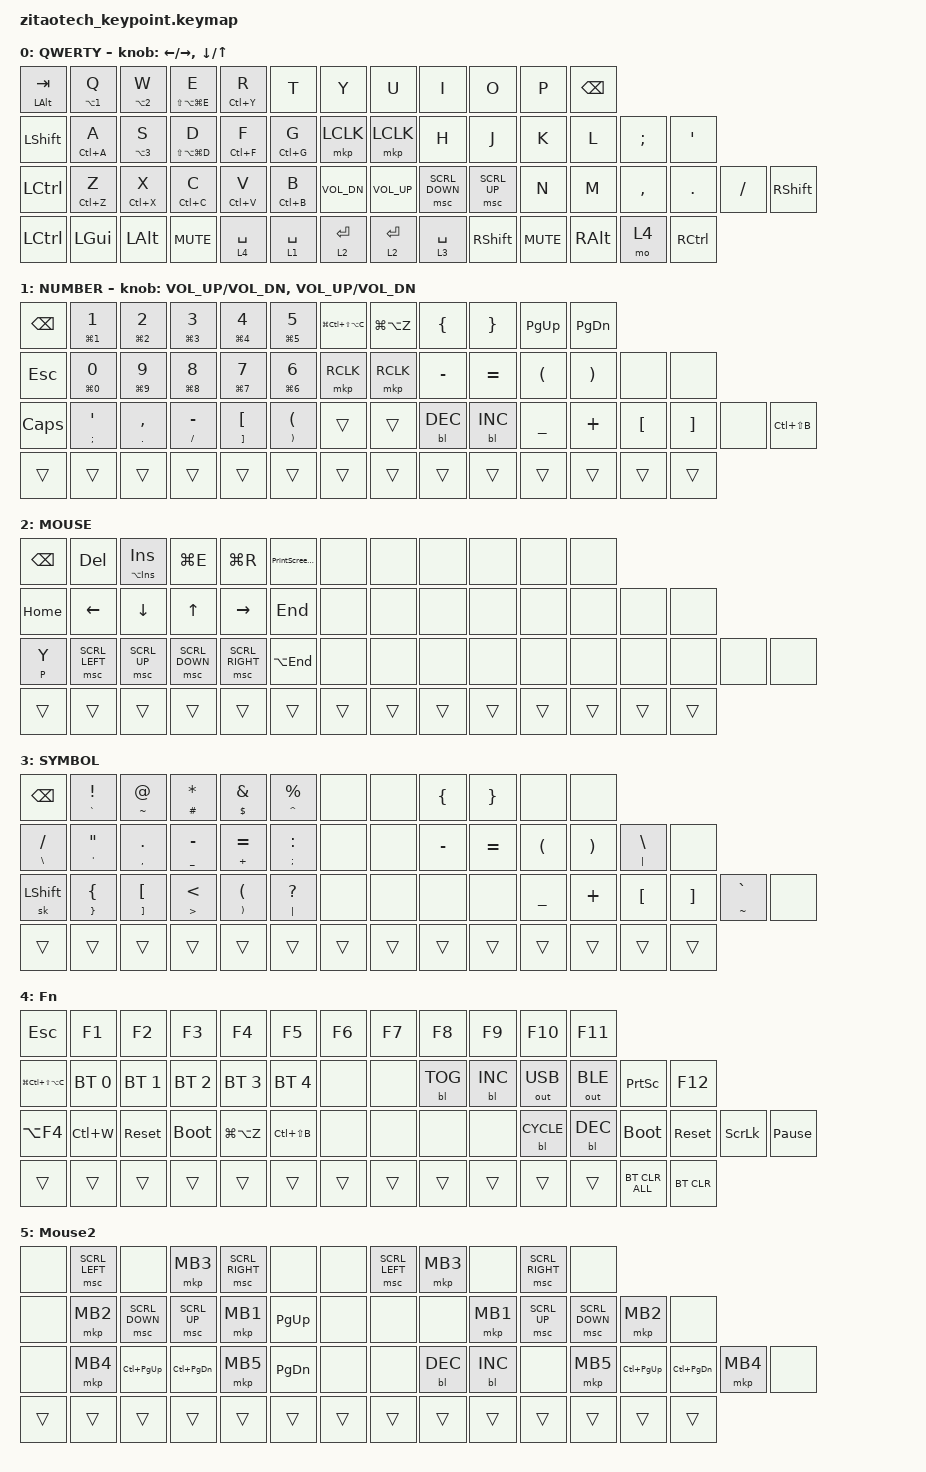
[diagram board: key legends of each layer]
/*
 * Copyright (c) 2025 ZitaoTech
 *
 * SPDX-License-Identifier: MIT
 */

#include <dt-bindings/zmk/mouse.h>
#include <behaviors.dtsi>
#include <dt-bindings/zmk/backlight.h>
#include <dt-bindings/zmk/bt.h>
#include <dt-bindings/zmk/keys.h>
#include <dt-bindings/zmk/outputs.h>
#include <dt-bindings/zmk/pointing.h>

#define LOWER 1
#define RAISE 2
#define MOUSE 3
#define BOT bootloader

&mt {
    flavor = "tap-preferred";	//优先识别为点击而非长按
    tapping-term-ms = <260>;            // 默认200ms，可据需要调整   判断“敲击”和“长按”的关键时间阈值。值越大，需等待更长时间才能判断是长按
    quick-tap-ms = <216>;               // 设置快速点按窗口          判断“快速敲击”的时间窗口。值越大，认为是快速敲击的时间就越长。
    global-quick-tap;                   // 启用全局快速点按功能
    hold-trigger-on-release;            // 在释放时才触发长按
    require-prior-idle-ms = <350>;      // 值越大，快速输入时hold越不易被激发
};

&sk { release-after-ms = <3000>; };

/ {
    behaviors {
        td0: tap_dance_0 {
            compatible = "zmk,behavior-tap-dance";
            #binding-cells = <0>;
            tapping-term-ms = <400>;
            bindings = <&mkp LCLK>, <&bt BT_CLR>;
        };
    };

    behaviors {
        tdRMCLK: tap_dance_R_LMouse {
            compatible = "zmk,behavior-tap-dance";
            #binding-cells = <0>;
            tapping-term-ms = <400>;
            bindings = <&mkp RCLK>, <&mkp MCLK>;
        };
    };

    behaviors {
        hm: homerow_mods {
            compatible = "zmk,behavior-hold-tap";
            #binding-cells = <2>;
            tapping-term-ms = <500>;
            bindings = <&kp &kp>;
        };
    };

    behaviors {
        LMouse_sc: behavior_LMouse_Scroll {
            compatible = "zmk,behavior-hold-tap";
            #binding-cells = <2>;
            flavor = "tap-preferred";     /* 单击优先 */
            tapping-term-ms = <200>;       /* 长按阈值 */
            bindings = <&none &mkp>;        /* hold=none, tap=Lmouse */
        };
    };

    behaviors {
        M_kp: behavior_mouse_keypress {
            compatible = "zmk,behavior-hold-tap";
            #binding-cells = <2>;
            flavor = "tap-preferred";     /* 单击优先 */
            tapping-term-ms = <200>;       /* 长按阈值 */
            bindings = <&mkp &kp>;        /* hold=mou key press, tap=key*/
        };
    };

    behaviors {
        BLE_encoder: BLE_encoder {
            compatible = "zmk,behavior-sensor-rotate";
            #sensor-binding-cells = <0>;
            bindings = <&bt BT_NXT>, <&bt BT_PRV>;
        };

        PrintScreen2FastStone: PrintScreen2FastStone {
            compatible = "zmk,behavior-tap-dance";
            label = "PRINTSCREEN2FASTSTONE";
            #binding-cells = <0>;
            bindings =
                <&mt LC(LS(PRINTSCREEN)) LS(PRINTSCREEN)>,
                <&kp LC(PRINTSCREEN)>,
                <&kp LC(LS(LA(PRINTSCREEN)))>;

            tapping-term-ms = <650>;
        };
    };

    combos {
        compatible = "zmk,combos";

        Combos2LayerX {
            bindings = <&mo 3>;
            key-positions = <47 48>;
        };

        Combos3LayerY {
            bindings = <&mo 5>;
            key-positions = <46 47>;
        };
    };

    keymap {
        compatible = "zmk,keymap";

        default_layer {
            display-name = "QWERTY";
            bindings = <
&mt LEFT_ALT TAB  &mt LA(N1) Q  &mt LA(N2) W  &mt LS(LA(LG(E))) E  &mt LC(Y) R  &kp T        &kp Y         &kp U         &kp I           &kp O            &kp P       &kp BSPC
&kp LEFT_SHIFT    &mt LC(A) A   &mt LA(N3) S  &mt LS(LA(LG(D))) D  &mt LC(F) F  &mt LC(G) G  &mkp LCLK     &mkp LCLK     &kp H           &kp J            &kp K       &kp L          &kp SEMI   &kp SQT
&kp LEFT_CONTROL  &mt LC(Z) Z   &mt LC(X) X   &mt LC(C) C          &mt LC(V) V  &mt LC(B) B  &kp C_VOL_DN  &kp C_VOL_UP  &msc SCRL_DOWN  &msc SCRL_UP     &kp N       &kp M          &kp COMMA  &kp DOT    &kp FSLH  &kp RSHFT
&kp LCTRL         &kp LGUI      &kp LALT      &kp C_MUTE           &lt 4 SPACE  &lt 1 SPACE  &lt 2 ENTER   &lt 2 ENTER   &lt 3 SPACE     &kp RIGHT_SHIFT  &kp C_MUTE  &kp RIGHT_ALT  &mo 4      &kp RCTRL
            >;

            sensor-bindings =
                <&inc_dec_kp LEFT RIGHT>,
                <&inc_dec_kp DOWN UP_ARROW>;
        };

        number_layer {
            display-name = "NUMBER";
            bindings = <
&kp BACKSPACE  &mt LG(N1) N1               &mt LG(N2) N2     &mt LG(N3) N3    &mt LG(N4) N4                   &mt LG(N5) N5                           &kp LG(LC(LS(LA(C))))  &kp LG(LA(Z))  &kp LBRC    &kp RBRC    &kp PAGE_UP     &kp PAGE_DOWN
&kp ESCAPE     &mt LG(N0) N0               &mt LG(N9) N9     &mt LG(N8) N8    &mt LG(N7) N7                   &mt LG(N6) N6                           &mkp RCLK              &mkp RCLK      &kp MINUS   &kp EQUAL   &kp LPAR        &kp RPAR       &none     &none
&kp CAPS       &mt SEMICOLON SINGLE_QUOTE  &mt PERIOD COMMA  &mt SLASH MINUS  &mt RIGHT_BRACKET LEFT_BRACKET  &mt RIGHT_PARENTHESIS LEFT_PARENTHESIS  &trans                 &trans         &bl BL_DEC  &bl BL_INC  &kp UNDERSCORE  &kp PLUS       &kp LBKT  &kp RBKT  &none  &kp LC(LS(B))
&trans         &trans                      &trans            &trans           &trans                          &trans                                  &trans                 &trans         &trans      &trans      &trans          &trans         &trans    &trans
            >;

            sensor-bindings =
                <&inc_dec_kp C_VOL_UP C_VOL_DN>,
                <&inc_dec_kp C_VOL_UP C_VOL_DN>;
        };

        mouse_layer {
            display-name = "MOUSE";
            bindings = <
&kp BACKSPACE  &kp DEL         &mt LA(INSERT) INSERT  &kp LG(E)       &kp LG(R)        &PrintScreen2FastStone  &none   &none   &none   &none   &none   &none
&kp HOME       &kp LEFT        &kp DOWN               &kp UP          &kp RIGHT        &kp END                 &none   &none   &none   &none   &none   &none   &none   &none
&mt P Y        &msc SCRL_LEFT  &msc SCRL_UP           &msc SCRL_DOWN  &msc SCRL_RIGHT  &kp LA(END)             &none   &none   &none   &none   &none   &none   &none   &none   &none  &none
&trans         &trans          &trans                 &trans          &trans           &trans                  &trans  &trans  &trans  &trans  &trans  &trans  &trans  &trans
            >;
        };

        symbol_layer {
            bindings = <
&kp BACKSPACE        &mt GRAVE EXCLAMATION           &mt TILDE AT_SIGN               &mt HASH ASTERISK           &mt DOLLAR AMPERSAND                    &mt CARET PERCENT    &none   &none   &kp LBRC   &kp RBRC   &none      &none
&mt BACKSLASH SLASH  &mt SINGLE_QUOTE DOUBLE_QUOTES  &mt COMMA PERIOD                &mt UNDERSCORE MINUS        &mt PLUS EQUAL                          &mt SEMICOLON COLON  &none   &none   &kp MINUS  &kp EQUAL  &kp LPAR   &kp RPAR  &mt PIPE BSLH  &none
&sk LSHIFT           &mt RIGHT_BRACE LEFT_BRACE      &mt RIGHT_BRACKET LEFT_BRACKET  &mt GREATER_THAN LESS_THAN  &mt RIGHT_PARENTHESIS LEFT_PARENTHESIS  &mt PIPE QUESTION    &none   &none   &none      &none      &kp UNDER  &kp PLUS  &kp LBKT       &kp RBKT  &mt TILDE GRAVE  &none
&trans               &trans                          &trans                          &trans                      &trans                                  &trans               &trans  &trans  &trans     &trans     &trans     &trans    &trans         &trans
            >;

            label = "SYMBOL";
        };

        fn_layer {
            display-name = "Fn";
            bindings = <
&kp ESC                &kp F1        &kp F2        &kp F3        &kp F4         &kp F5         &kp F6  &kp F7  &kp F8      &kp F9      &kp F10       &kp F11
&kp LG(LC(LS(LA(C))))  &bt BT_SEL 0  &bt BT_SEL 1  &bt BT_SEL 2  &bt BT_SEL 3   &bt BT_SEL 4   &none   &none   &bl BL_TOG  &bl BL_INC  &out OUT_USB  &out OUT_BLE  &kp PRINTSCREEN  &kp F12
&kp LA(F4)             &kp LC(W)     &sys_reset    &bootloader   &kp LG(LA(Z))  &kp LC(LS(B))  &none   &none   &none       &none       &bl BL_CYCLE  &bl BL_DEC    &bootloader      &sys_reset  &kp SCROLLLOCK  &kp PAUSE_BREAK
&trans                 &trans        &trans        &trans        &trans         &trans         &trans  &trans  &trans      &trans      &trans        &trans        &bt BT_CLR_ALL   &bt BT_CLR
            >;
        };

        MOUSE_2 {
            bindings = <
&none   &msc SCRL_LEFT  &none            &mkp MB3           &msc SCRL_RIGHT  &none          &none   &msc SCRL_LEFT  &mkp MB3    &none       &msc SCRL_RIGHT  &none
&none   &mkp MB2        &msc SCRL_DOWN   &msc SCRL_UP       &mkp MB1         &kp PAGE_UP    &none   &none           &none       &mkp MB1    &msc SCRL_UP     &msc SCRL_DOWN  &mkp MB2         &none
&none   &mkp MB4        &kp LC(PAGE_UP)  &kp LC(PAGE_DOWN)  &mkp MB5         &kp PAGE_DOWN  &none   &none           &bl BL_DEC  &bl BL_INC  &none            &mkp MB5        &kp LC(PAGE_UP)  &kp LC(PAGE_DOWN)  &mkp MB4  &none
&trans  &trans          &trans           &trans             &trans           &trans         &trans  &trans          &trans      &trans      &trans           &trans          &trans           &trans
            >;

            label = "Mouse2";
        };
    };
};
